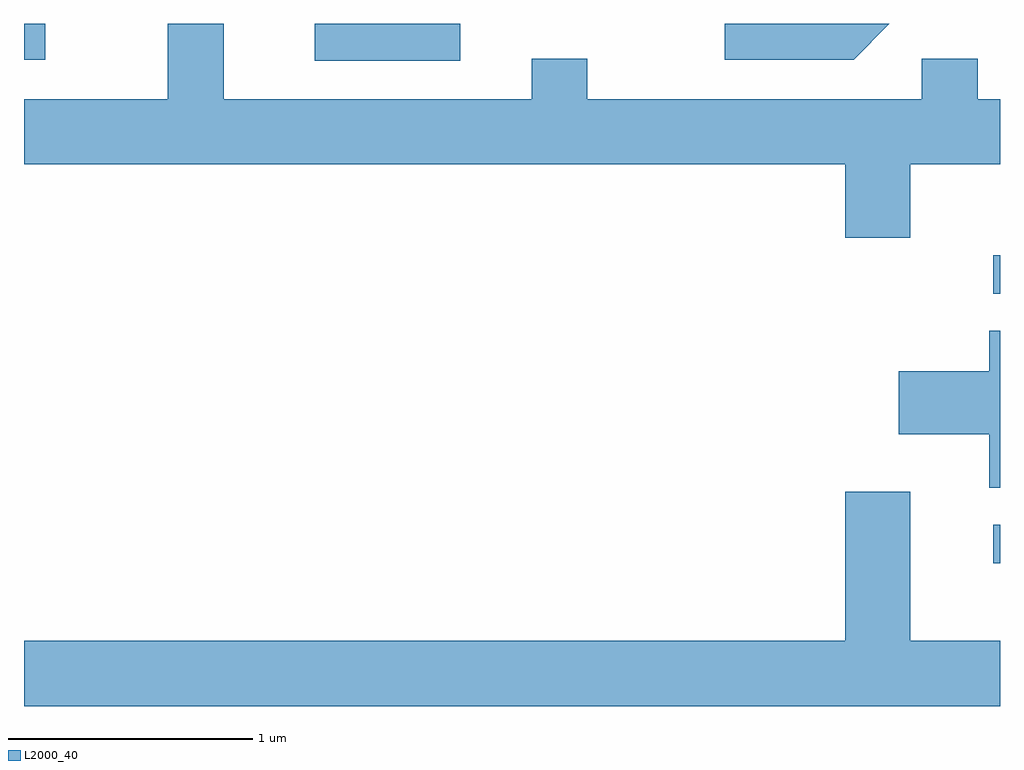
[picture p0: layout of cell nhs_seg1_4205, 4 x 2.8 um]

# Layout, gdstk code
import gdstk
lib = gdstk.Library(unit=1e-6, precision=1e-09)
def R(c, l, rs):  # rectangles x0, y0, x1, y1
    for r in rs: c.add(gdstk.rectangle(r[:2], r[2:], *l))
def P(c, l, *ps):  # polygons
    for p in ps: c.add(gdstk.Polygon(p, *l))
L2000_40 = (2000, 40)

nhs_seg1_4205 = lib.new_cell('nhs_seg1_4205')
R(nhs_seg1_4205, L2000_40, [(315.583,893.501,315.611,893.659), (315.583,894.606,315.611,894.764), (312.803,895.561,313.399,895.712), (311.611,895.566,311.699,895.712)])
P(nhs_seg1_4205, L2000_40, [(315.244,895.136),(315.611,895.136),(315.611,895.404),(315.519,895.404),(315.519,895.569),(315.291,895.569),(315.291,895.404),(313.919,895.404),(313.919,895.569),(313.691,895.569),(313.691,895.404),(312.429,895.404),(312.429,895.712),(312.201,895.712),(312.201,895.404),(311.611,895.404),(311.611,895.136),(314.976,895.136),(314.976,894.836),(315.244,894.836)],
  [(315.157,895.712),(314.483,895.712),(314.483,895.566),(315.012,895.566)],
  [(315.611,894.454),(315.566,894.454),(315.566,894.289),(315.196,894.289),(315.196,894.031),(315.566,894.031),(315.566,893.811),(315.611,893.811)],
  [(315.611,893.184),(315.244,893.184),(315.244,893.794),(314.976,893.794),(314.976,893.184),(311.611,893.184),(311.611,892.916),(315.611,892.916)])

lib.write_gds('nhs_seg1_4205.gds')
